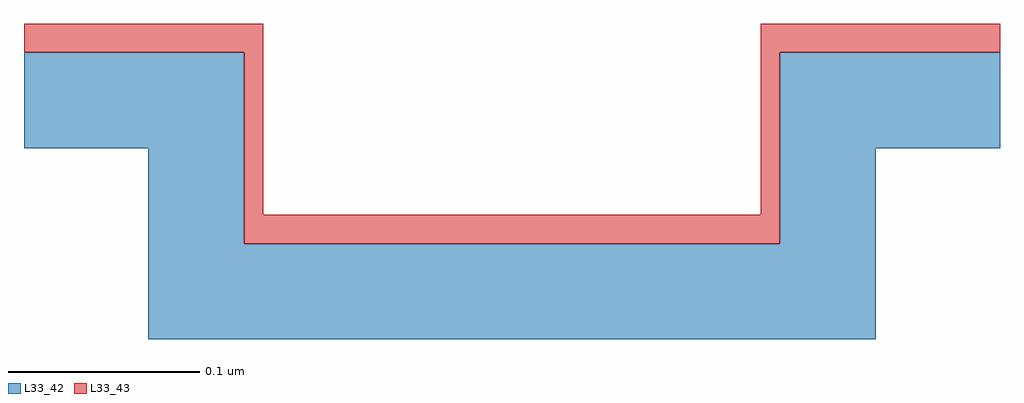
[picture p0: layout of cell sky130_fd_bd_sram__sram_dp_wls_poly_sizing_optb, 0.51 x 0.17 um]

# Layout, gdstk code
import gdstk
lib = gdstk.Library(unit=1e-6, precision=1e-09)
def R(c, l, rs):  # rectangles x0, y0, x1, y1
    for r in rs: c.add(gdstk.rectangle(r[:2], r[2:], *l))
L33_42 = (33, 42)
L33_43 = (33, 43)

sky130_fd_bd_sram__sram_ = lib.new_cell('sky130_fd_bd_sram__sram_dp_wls_poly_sizing_optb')
R(sky130_fd_bd_sram__sram_, L33_42, [(0.065,-0.165,0.445,-0.115), (0.065,-0.165,0.115,-0.015), (0.395,-0.165,0.445,-0.015), (0,-0.065,0.115,-0.015), (0.395,-0.065,0.51,-0.015)])
R(sky130_fd_bd_sram__sram_, L33_43, [(0.115,-0.115,0.395,-0.1), (0.115,-0.11,0.125,0), (0.385,-0.11,0.395,0), (0,-0.015,0.125,0), (0.385,-0.015,0.51,0)])

lib.write_gds('sky130_fd_bd_sram__sram_dp_wls_poly_sizing_optb.gds')
